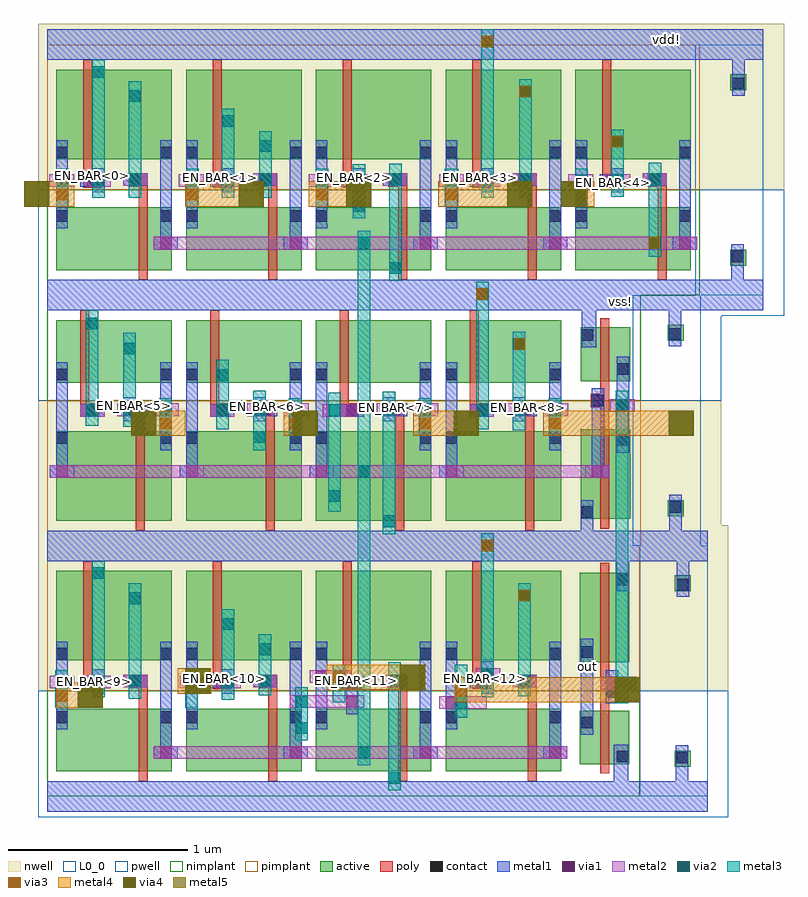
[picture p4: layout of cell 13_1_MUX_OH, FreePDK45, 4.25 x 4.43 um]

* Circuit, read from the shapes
.subckt 13_1_MUX_OH EN<0> EN<10> EN<11> EN<12> EN<1> EN<2> EN<3> EN<4> EN<5> EN<6> EN<7> EN<8> EN<9> EN_BAR<0> EN_BAR<10> EN_BAR<11> EN_BAR<12> EN_BAR<1> EN_BAR<2> EN_BAR<3> EN_BAR<4> EN_BAR<5> EN_BAR<6> EN_BAR<7> EN_BAR<8> EN_BAR<9> IN<0> IN<10> IN<11> IN<12> IN<1> IN<2> IN<3> IN<4> IN<5> IN<6> IN<7> IN<8> IN<9> VDD out vdd! vss!
M1 IN<5> EN<5> TGATE_0/Out vss! nfet w=0.35u l=0.05u
M2 TGATE_0/Out EN<9> IN<9> vss! nfet w=0.35u l=0.05u
M3 TGATE_0/Out EN<0> IN<0> vss! nfet w=0.35u l=0.05u
M4 IN<6> EN<6> TGATE_0/Out vss! nfet w=0.35u l=0.05u
M5 TGATE_0/Out EN<10> IN<10> vss! nfet w=0.35u l=0.05u
M6 TGATE_0/Out EN<1> IN<1> vss! nfet w=0.35u l=0.05u
M7 IN<7> EN<7> TGATE_0/Out vss! nfet w=0.35u l=0.05u
M8 TGATE_0/Out EN<11> IN<11> vss! nfet w=0.35u l=0.05u
M9 TGATE_0/Out EN<2> IN<2> vss! nfet w=0.35u l=0.05u
M10 IN<8> EN<8> TGATE_0/Out vss! nfet w=0.35u l=0.05u
M11 TGATE_0/Out EN<12> IN<12> vss! nfet w=0.35u l=0.05u
M12 TGATE_0/Out EN<3> IN<3> vss! nfet w=0.35u l=0.05u
M13 vss! INVD1_13/vi out vss! nfet w=0.3u l=0.05u
M14 INVD1_13/vi TGATE_0/Out vss! vss! nfet w=0.3u l=0.05u
M15 TGATE_0/Out EN<4> IN<4> vss! nfet w=0.35u l=0.05u
M16 TGATE_0/Out EN_BAR<9> IN<9> VDD pfet w=0.5u l=0.05u
M17 TGATE_0/Out EN_BAR<0> IN<0> vdd! pfet w=0.5u l=0.05u
M18 IN<5> EN_BAR<5> TGATE_0/Out VDD pfet w=0.5u l=0.05u
M19 TGATE_0/Out EN_BAR<10> IN<10> VDD pfet w=0.5u l=0.05u
M20 TGATE_0/Out EN_BAR<1> IN<1> vdd! pfet w=0.5u l=0.05u
M21 IN<6> EN_BAR<6> TGATE_0/Out VDD pfet w=0.5u l=0.05u
M22 TGATE_0/Out EN_BAR<11> IN<11> VDD pfet w=0.5u l=0.05u
M23 TGATE_0/Out EN_BAR<2> IN<2> vdd! pfet w=0.5u l=0.05u
M24 IN<7> EN_BAR<7> TGATE_0/Out VDD pfet w=0.5u l=0.05u
M25 TGATE_0/Out EN_BAR<12> IN<12> VDD pfet w=0.5u l=0.05u
M26 TGATE_0/Out EN_BAR<3> IN<3> vdd! pfet w=0.5u l=0.05u
M27 IN<8> EN_BAR<8> TGATE_0/Out VDD pfet w=0.5u l=0.05u
M28 VDD INVD1_13/vi out VDD pfet w=0.5u l=0.05u
M29 INVD1_13/vi TGATE_0/Out VDD VDD pfet w=0.5u l=0.05u
M30 TGATE_0/Out EN_BAR<4> IN<4> vdd! pfet w=0.5u l=0.05u
.ends

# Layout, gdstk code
from math import pi, radians
import gdstk
lib = gdstk.Library(unit=1e-6, precision=1e-09)
def R(c, l, rs):  # rectangles x0, y0, x1, y1
    for r in rs: c.add(gdstk.rectangle(r[:2], r[2:], *l))
def A(c, l, x, y, w, h, nx, ny, dx, dy):  # array of equal rectangles
    R(c, l, [(x+i*dx, y+j*dy, x+i*dx+w, y+j*dy+h) for i in range(nx) for j in range(ny)])
def P(c, l, *ps):  # polygons
    for p in ps: c.add(gdstk.Polygon(p, *l))
L0_0 = (0, 0)
active = (1, 0)
pwell = (2, 0)
nwell = (3, 0)
nimplant = (4, 0)
pimplant = (5, 0)
poly = (9, 0)
contact = (10, 0)
metal1 = (11, 0)
via1 = (12, 0)
metal2 = (13, 0)
via2 = (14, 0)
metal3 = (15, 0)
via3 = (16, 0)
metal4 = (17, 0)
via4 = (18, 0)
metal5 = (19, 0)

tgate = lib.new_cell('TGATE')
R(tgate, active, [(0.315,0.255,0.96,0.605), (0.315,0.875,0.96,1.375)])
R(tgate, pwell, [(0.215,0,1.06,0.705)])
R(tgate, nwell, [(0.215,0.705,1.06,1.63)])
R(tgate, nimplant, [(0.265,0.115,1.01,0.705)])
R(tgate, pimplant, [(0.265,0.705,1.01,1.515)])
R(tgate, poly, [(0.775,0.2,0.825,0.785), (0.465,0.715,0.57,0.79), (0.465,0.715,0.515,1.43), (0.72,0.72,0.825,0.795)])
R(tgate, contact, [(0.315,0.525,0.38,0.59), (0.895,0.525,0.96,0.59), (0.485,0.72,0.55,0.785), (0.725,0.725,0.79,0.79), (0.315,0.88,0.38,0.945), (0.895,0.88,0.96,0.945)])
R(tgate, metal1, [(0.265,0.03,1.01,0.2), (0.315,0.49,0.38,0.98), (0.895,0.49,0.96,0.98), (0.45,0.72,0.585,0.79), (0.69,0.725,0.825,0.795), (0.265,1.43,1.01,1.6)])
tgate.add(gdstk.Label('In', (0.35,0.74), layer=11, texttype=0))
tgate.add(gdstk.Label('vss!', (0.61,0.13), layer=11, texttype=0))
tgate.add(gdstk.Label('vdd!', (0.63,1.505), layer=11, texttype=0))
tgate.add(gdstk.Label('EN_N', (0.755,0.76), layer=11, texttype=0))
tgate.add(gdstk.Label('EN_P', (0.515,0.755), layer=11, texttype=0))
tgate.add(gdstk.Label('Out', (0.935,0.755), layer=11, texttype=0))

invd1 = lib.new_cell('INVD1')
R(invd1, active, [(0.545,-1.465,0.82,-1.165), (0.545,-0.895,0.82,-0.395)])
R(invd1, pwell, [(0.435,-1.76,0.93,-1.055)])
R(invd1, nwell, [(0.435,-1.055,0.93,-0.13)])
R(invd1, nimplant, [(0.485,-1.645,0.88,-1.055)])
R(invd1, pimplant, [(0.485,-1.055,0.88,-0.245)])
R(invd1, poly, [(0.655,-1.515,0.705,-0.34), (0.6,-1.095,0.705,-1.02)])
R(invd1, contact, [(0.55,-1.455,0.615,-1.39), (0.745,-1.265,0.81,-1.2), (0.605,-1.09,0.67,-1.025), (0.745,-0.87,0.81,-0.805), (0.55,-0.465,0.615,-0.4)])
R(invd1, metal1, [(0.485,-1.73,0.88,-1.56), (0.55,-1.64,0.63,-1.355), (0.745,-1.3,0.815,-0.765), (0.605,-1.125,0.675,-0.99), (0.545,-0.5,0.615,-0.33), (0.485,-0.33,0.88,-0.16)])
invd1.add(gdstk.Label('vo', (0.775,-1.06), layer=11, texttype=0))
invd1.add(gdstk.Label('vi', (0.635,-1.045), layer=11, texttype=0))
invd1.add(gdstk.Label('vss!', (0.68,-1.705), layer=11, texttype=0))
invd1.add(gdstk.Label('vdd!', (0.675,-0.23), layer=11, texttype=0))

welltap_x1 = lib.new_cell('WELLTAP_X1')
R(welltap_x1, L0_0, [(0,0,0.38,1.4)])
R(welltap_x1, active, [(0.195,0.165,0.285,0.255), (0.195,1.145,0.285,1.235)])
R(welltap_x1, pwell, [(-0.115,-0.115,0.495,0.59)])
R(welltap_x1, nwell, [(-0.115,0.59,0.495,1.515)])
R(welltap_x1, nimplant, [(0.195,1.145,0.285,1.235)])
R(welltap_x1, pimplant, [(0.195,0.165,0.285,0.255)])
R(welltap_x1, contact, [(0.205,0.185,0.27,0.25), (0.205,1.15,0.27,1.215)])
P(welltap_x1, metal1, [(0.38,0.085),(0.27,0.085),(0.27,0.285),(0.2,0.285),(0.2,0.085),(0,0.085),(0,-0.085),(0.38,-0.085)],
  [(0.38,1.485),(0,1.485),(0,1.315),(0.205,1.315),(0.205,1.115),(0.275,1.115),(0.275,1.315),(0.38,1.315)],
  [(0.38,1.485),(0,1.485),(0,1.315),(0.205,1.315),(0.205,1.115),(0.275,1.115),(0.275,1.315),(0.38,1.315)],
  [(0.38,0.085),(0.27,0.085),(0.27,0.285),(0.2,0.285),(0.2,0.085),(0,0.085),(0,-0.085),(0.38,-0.085)])
welltap_x1.add(gdstk.Label('VSS', (0.095,-0.085), layer=11, texttype=0))
welltap_x1.add(gdstk.Label('VDD', (0.095,1.485), layer=11, texttype=0))
welltap_x1.add(gdstk.Label('& Instance FILLCELL_X1', (0,0), layer=63, texttype=0))
welltap_x1.add(gdstk.Label('& Version 2010_12', (0,0), layer=63, texttype=0))
welltap_x1.add(gdstk.Label('& Product Open Cell Library', (0,0), layer=63, texttype=0))
welltap_x1.add(gdstk.Label('& Vendor Nangate Inc', (0,0), layer=63, texttype=0))
welltap_x1.add(gdstk.Label('VSS', (0,-0.085), layer=230, texttype=0))
welltap_x1.add(gdstk.Label('VDD', (0,1.315), layer=230, texttype=0))

c_13_1_mux_oh = lib.new_cell('13_1_MUX_OH')
A(c_13_1_mux_oh, metal1, 1.165, -2.41, 0.135, 0.07, 4, 1, 0.725, 0)
A(c_13_1_mux_oh, metal1, 1.2, -2.365, 0.065, 0.12, 4, 1, 0.725, 0)
A(c_13_1_mux_oh, metal1, 0.585, -0.84, 0.135, 0.07, 4, 1, 0.725, 0)
A(c_13_1_mux_oh, metal1, 0.62, -0.84, 0.065, 0.155, 4, 1, 0.725, 0)
A(c_13_1_mux_oh, metal1, 0.995, -0.525, 0.07, 0.135, 4, 1, 0.725, 0)
A(c_13_1_mux_oh, metal1, 1.165, 0.435, 0.135, 0.07, 5, 1, 0.725, 0)
A(c_13_1_mux_oh, metal1, 1.2, 0.435, 0.065, 0.12, 5, 1, 0.725, 0)
R(c_13_1_mux_oh, metal1, [(2.24,-2.16,2.305,-2.015), (0.82,-2.045,0.89,-1.91), (1.545,-2.045,1.615,-1.91), (2.995,-2.045,3.065,-1.865), (3.69,-2.03,3.76,-1.915), (3.575,-0.84,3.71,-0.77), (3.61,-0.81,3.68,-0.34), (0.82,0.755,0.89,0.89), (1.55,0.755,1.615,0.89), (2.275,0.755,2.345,0.89), (2.995,0.755,3.065,0.89), (3.72,0.755,3.79,0.89)])
A(c_13_1_mux_oh, via1, 1.2, -2.41, 0.065, 0.07, 4, 1, 0.725, 0)
A(c_13_1_mux_oh, via1, 1.03, -2.005, 0.065, 0.065, 4, 1, 0.725, 0)
A(c_13_1_mux_oh, via1, 0.62, -0.84, 0.065, 0.07, 4, 1, 0.725, 0)
A(c_13_1_mux_oh, via1, 0.995, -0.49, 0.065, 0.065, 4, 1, 0.725, 0)
A(c_13_1_mux_oh, via1, 1.2, 0.435, 0.065, 0.07, 5, 1, 0.725, 0)
A(c_13_1_mux_oh, via1, 0.62, 0.785, 0.065, 0.065, 4, 1, 0.725, 0)
A(c_13_1_mux_oh, via1, 0.825, 0.79, 0.065, 0.065, 5, 1, 0.725, 0)
A(c_13_1_mux_oh, via1, 1.03, 0.795, 0.065, 0.065, 5, 1, 0.725, 0)
R(c_13_1_mux_oh, via1, [(2.795,-2.13,2.86,-2.065), (2.24,-2.125,2.305,-2.06), (0.62,-2.015,0.685,-1.95), (1.345,-2.015,1.41,-1.95), (3.695,-2.015,3.76,-1.95), (0.825,-2.01,0.89,-1.945), (1.55,-2.01,1.615,-1.945), (2.07,-1.985,2.135,-1.92), (3,-1.97,3.065,-1.905), (3.61,-0.84,3.675,-0.77), (0.79,-0.495,0.855,-0.43), (1.2,-0.495,1.265,-0.43), (1.515,-0.495,1.58,-0.43), (1.925,-0.495,1.99,-0.43), (2.24,-0.495,2.305,-0.43), (2.65,-0.495,2.715,-0.43), (2.965,-0.495,3.03,-0.43), (3.375,-0.495,3.44,-0.43), (3.75,-0.465,3.815,-0.4), (2.795,0.785,2.86,0.85), (3.52,0.785,3.585,0.85)])
A(c_13_1_mux_oh, metal2, 0.995, -2.01, 0.135, 0.07, 4, 1, 0.725, 0)
A(c_13_1_mux_oh, metal2, 0.96, -0.495, 0.135, 0.07, 4, 1, 0.725, 0)
A(c_13_1_mux_oh, metal2, 1.165, -0.495, 0.14, 0.07, 4, 1, 0.725, 0)
A(c_13_1_mux_oh, metal2, 0.58, 0.785, 0.14, 0.07, 3, 1, 0.725, 0)
A(c_13_1_mux_oh, metal2, 0.79, 0.785, 0.135, 0.07, 3, 1, 0.725, 0)
A(c_13_1_mux_oh, metal2, 0.995, 0.79, 0.135, 0.07, 5, 1, 0.725, 0)
R(c_13_1_mux_oh, metal2, [(1.165,-2.41,3.475,-2.34), (2.76,-2.13,3.025,-2.06), (1.925,-2.125,2.34,-2.055), (3.66,-2.02,3.86,-1.95), (0.585,-2.015,0.72,-1.945), (0.79,-2.015,0.925,-1.945), (1.31,-2.015,1.445,-1.945), (1.515,-2.015,1.65,-1.945), (2.035,-1.985,2.265,-1.915), (2.965,-1.975,3.1,-1.905), (0.585,-0.84,3.71,-0.77), (0.755,-0.5,0.89,-0.43), (1.48,-0.5,1.615,-0.43), (2.11,-0.5,2.34,-0.43), (2.93,-0.5,3.065,-0.43), (3.715,-0.47,3.85,-0.4), (1.165,0.435,4.2,0.505), (2.76,0.785,2.895,0.855), (2.965,0.785,3.1,0.855), (3.48,0.785,3.62,0.855), (3.69,0.785,3.825,0.855)])
A(c_13_1_mux_oh, via2, 1.03, -2.005, 0.065, 0.065, 4, 1, 0.725, 0)
A(c_13_1_mux_oh, via2, 0.995, -0.49, 0.065, 0.065, 4, 1, 0.725, 0)
A(c_13_1_mux_oh, via2, 0.62, 0.785, 0.065, 0.065, 4, 1, 0.725, 0)
A(c_13_1_mux_oh, via2, 0.825, 0.79, 0.065, 0.065, 5, 1, 0.725, 0)
A(c_13_1_mux_oh, via2, 1.03, 0.795, 0.065, 0.065, 5, 1, 0.725, 0)
R(c_13_1_mux_oh, via2, [(2.475,-2.55,2.54,-2.485), (2.305,-2.41,2.375,-2.34), (1.96,-2.27,2.025,-2.205), (2.845,-2.13,2.91,-2.065), (1.96,-2.125,2.025,-2.06), (0.62,-2.015,0.685,-1.95), (1.345,-2.015,1.41,-1.95), (3.745,-2.015,3.81,-1.95), (0.825,-2.01,0.89,-1.945), (1.55,-2.01,1.615,-1.945), (2.165,-1.985,2.23,-1.92), (3,-1.97,3.065,-1.905), (1.75,-1.83,1.815,-1.765), (1.545,-1.69,1.61,-1.625), (1.025,-1.545,1.09,-1.48), (0.82,-1.405,0.885,-1.34), (2.445,-1.115,2.51,-1.05), (2.14,-0.975,2.205,-0.91), (2.305,-0.84,2.375,-0.77), (1.72,-0.645,1.785,-0.58), (0.79,-0.495,0.855,-0.43), (1.2,-0.495,1.265,-0.43), (1.515,-0.495,1.58,-0.43), (1.925,-0.495,1.99,-0.43), (2.145,-0.495,2.21,-0.43), (2.65,-0.495,2.715,-0.43), (2.965,-0.495,3.03,-0.43), (3.375,-0.495,3.44,-0.43), (3.75,-0.465,3.815,-0.4), (1.515,-0.3,1.58,-0.235), (1,-0.15,1.065,-0.085), (0.785,-0.01,0.85,0.055), (2.48,0.3,2.545,0.365), (2.305,0.435,2.375,0.505), (2.275,0.645,2.34,0.71), (2.795,0.785,2.86,0.85), (3.52,0.785,3.585,0.85), (1.755,0.98,1.82,1.045), (1.55,1.12,1.615,1.185), (1.025,1.26,1.09,1.325), (0.825,1.395,0.89,1.46)])
A(c_13_1_mux_oh, metal3, 1.195, -0.605, 0.07, 0.21, 4, 1, 0.725, 0)
A(c_13_1_mux_oh, metal3, 0.62, 0.675, 0.07, 0.21, 3, 1, 0.725, 0)
R(c_13_1_mux_oh, metal3, [(2.475,-2.585,2.545,-1.87), (2.305,-2.445,2.375,0.54), (1.955,-2.305,2.025,-2.01), (2.845,-2.18,2.915,-1.885), (0.615,-2.125,0.685,-1.915), (1.34,-2.125,1.41,-1.915), (2.165,-2.095,2.235,-1.885), (1.545,-2.08,1.615,-1.575), (1.025,-2.075,1.095,-1.43), (0.82,-2.065,0.89,-1.305), (2.995,-2.065,3.065,-1.15), (3.2,-2.06,3.27,-1.43), (1.75,-2.055,1.82,-1.715), (2.445,-1.155,2.515,-0.36), (2.14,-1.03,2.21,-0.365), (1.72,-0.685,1.79,-0.355), (3.17,-0.575,3.24,-0.025), (1.515,-0.57,1.585,-0.18), (2.965,-0.57,3.035,0.255), (0.995,-0.555,1.065,-0.03), (0.785,-0.55,0.855,0.095), (2.48,0.26,2.55,0.915), (3.93,0.395,4,0.92), (2.275,0.61,2.345,0.91), (2.79,0.675,2.86,0.885), (2.795,0.675,2.865,0.885), (3.52,0.675,3.59,0.885), (0.82,0.725,0.89,1.495), (1.025,0.725,1.095,1.375), (1.545,0.725,1.615,1.22), (1.755,0.725,1.825,1.095), (2.995,0.725,3.065,1.665), (3.205,0.725,3.275,1.385), (3.72,0.73,3.79,1.105)])
A(c_13_1_mux_oh, via3, 1.2, -0.57, 0.065, 0.065, 4, 1, 0.725, 0)
A(c_13_1_mux_oh, via3, 0.62, 0.71, 0.065, 0.065, 4, 1, 0.725, 0)
R(c_13_1_mux_oh, via3, [(0.62,-2.09,0.685,-2.025), (2.845,-2.06,2.91,-1.995), (1.345,-2.015,1.41,-1.95), (2.165,-1.985,2.23,-1.92), (3.2,-1.53,3.265,-1.465), (2.995,-1.25,3.06,-1.185), (3.175,-0.125,3.24,-0.06), (2.965,0.155,3.03,0.22), (3.93,0.44,3.995,0.505), (2.795,0.71,2.86,0.775), (3.52,0.71,3.585,0.775), (3.72,1.005,3.785,1.07), (3.205,1.285,3.27,1.35), (2.995,1.565,3.06,1.63)])
R(c_13_1_mux_oh, metal4, [(0.62,-2.125,0.88,-1.985), (2.845,-2.095,3.88,-1.955), (1.3,-2.045,1.485,-1.905), (2.13,-2.025,2.68,-1.885), (1.04,-0.605,1.19,-0.465), (1.165,-0.605,1.34,-0.465), (1.89,-0.605,2.08,-0.465), (2.615,-0.605,2.98,-0.465), (3.34,-0.605,4.18,-0.465), (0.44,0.675,0.72,0.815), (1.34,0.675,1.78,0.815), (2.03,0.675,2.38,0.815), (2.755,0.675,3.28,0.815), (3.44,0.675,3.625,0.815)])
A(c_13_1_mux_oh, via4, 1.04, -0.605, 0.14, 0.14, 3, 1, 0.9, 0)
R(c_13_1_mux_oh, via4, [(0.74,-2.125,0.88,-1.985), (3.74,-2.095,3.88,-1.955), (1.34,-2.045,1.48,-1.905), (2.54,-2.025,2.68,-1.885), (4.04,-0.605,4.18,-0.465), (0.44,0.675,0.58,0.815), (1.64,0.675,1.78,0.815), (2.24,0.675,2.38,0.815), (3.14,0.675,3.28,0.815), (3.44,0.675,3.58,0.815)])
A(c_13_1_mux_oh, metal5, 1.04, -0.605, 0.14, 0.14, 3, 1, 0.9, 0)
R(c_13_1_mux_oh, metal5, [(0.74,-2.125,0.88,-1.985), (3.74,-2.095,3.88,-1.955), (1.34,-2.045,1.48,-1.905), (2.54,-2.025,2.68,-1.885), (4.04,-0.605,4.18,-0.465), (0.44,0.675,0.58,0.815), (1.64,0.675,1.78,0.815), (2.24,0.675,2.38,0.815), (3.14,0.675,3.28,0.815), (3.44,0.675,3.58,0.815)])
c_13_1_mux_oh.add(gdstk.FlexPath([(3.78,-0.355),(3.78,-2.1)], 0.07, ends="flush", simple_path=True, layer=15, datatype=0))  # metal3
c_13_1_mux_oh.add(gdstk.Reference(tgate, (2.48,-2.735)))
c_13_1_mux_oh.add(gdstk.Reference(tgate, (0.305,0.065)))
c_13_1_mux_oh.add(gdstk.Reference(tgate, (1.03,0.065)))
c_13_1_mux_oh.add(gdstk.Reference(tgate, (2.48,0.065)))
c_13_1_mux_oh.add(gdstk.Reference(tgate, (1.755,0.065)))
c_13_1_mux_oh.add(gdstk.Reference(tgate, (3.755,0.295), rotation=pi))
c_13_1_mux_oh.add(gdstk.Reference(tgate, (3.205,0.065)))
c_13_1_mux_oh.add(gdstk.Reference(tgate, (2.305,0.295), rotation=pi))
c_13_1_mux_oh.add(gdstk.Reference(tgate, (3.03,0.295), rotation=pi))
c_13_1_mux_oh.add(gdstk.Reference(tgate, (0.305,-2.735)))
c_13_1_mux_oh.add(gdstk.Reference(tgate, (1.58,0.295), rotation=pi))
c_13_1_mux_oh.add(gdstk.Reference(tgate, (1.755,-2.735)))
c_13_1_mux_oh.add(gdstk.Reference(tgate, (1.03,-2.735)))
c_13_1_mux_oh.add(gdstk.Reference(invd1, (4.365,-0.975), rotation=pi, x_reflection=True))
c_13_1_mux_oh.add(gdstk.Reference(invd1, (3.005,-1.465), x_reflection=True))
c_13_1_mux_oh.add(gdstk.Reference(welltap_x1, (3.88,-2.62)))
c_13_1_mux_oh.add(gdstk.Reference(welltap_x1, (3.84,0.18), x_reflection=True))
c_13_1_mux_oh.add(gdstk.Reference(welltap_x1, (4.19,0.18)))
c_13_1_mux_oh.add(gdstk.Label('out', (3.59,-1.895), layer=11, texttype=0))
c_13_1_mux_oh.add(gdstk.Label('vss!', (3.77,0.145), layer=11, texttype=0))
c_13_1_mux_oh.add(gdstk.Label('vdd!', (4.03,1.61), layer=11, texttype=0))
c_13_1_mux_oh.add(gdstk.Label('EN_BAR<12>', (3.02,-1.96), layer=11, texttype=0))
c_13_1_mux_oh.add(gdstk.Label('EN_BAR<11>', (2.295,-1.975), layer=11, texttype=0))
c_13_1_mux_oh.add(gdstk.Label('EN_BAR<10>', (1.56,-1.96), layer=11, texttype=0))
c_13_1_mux_oh.add(gdstk.Label('EN_BAR<9>', (0.835,-1.98), layer=11, texttype=0))
c_13_1_mux_oh.add(gdstk.Label('EN_BAR<8>', (3.26,-0.45), layer=11, texttype=0))
c_13_1_mux_oh.add(gdstk.Label('EN_BAR<7>', (2.52,-0.445), layer=11, texttype=0))
c_13_1_mux_oh.add(gdstk.Label('EN_BAR<6>', (1.8,-0.44), layer=11, texttype=0))
c_13_1_mux_oh.add(gdstk.Label('EN_BAR<5>', (1.055,-0.435), layer=11, texttype=0))
c_13_1_mux_oh.add(gdstk.Label('EN_BAR<4>', (3.735,0.81), layer=11, texttype=0))
c_13_1_mux_oh.add(gdstk.Label('EN_BAR<3>', (2.99,0.84), layer=11, texttype=0))
c_13_1_mux_oh.add(gdstk.Label('EN_BAR<2>', (2.285,0.835), layer=11, texttype=0))
c_13_1_mux_oh.add(gdstk.Label('EN_BAR<1>', (1.535,0.835), layer=11, texttype=0))
c_13_1_mux_oh.add(gdstk.Label('EN_BAR<0>', (0.825,0.85), layer=11, texttype=0))
c_13_1_mux_oh.add(gdstk.Label('EN<12>', (3.235,-1.955), layer=11, texttype=0))
c_13_1_mux_oh.add(gdstk.Label('EN<11>', (2.52,-1.96), layer=11, texttype=0))
c_13_1_mux_oh.add(gdstk.Label('EN<10>', (1.795,-1.965), layer=11, texttype=0))
c_13_1_mux_oh.add(gdstk.Label('EN<9>', (1.06,-1.965), layer=11, texttype=0))
c_13_1_mux_oh.add(gdstk.Label('EN<8>', (3.02,-0.435), layer=11, texttype=0))
c_13_1_mux_oh.add(gdstk.Label('EN<7>', (2.29,-0.445), layer=11, texttype=0))
c_13_1_mux_oh.add(gdstk.Label('EN<6>', (1.535,-0.445), layer=11, texttype=0))
c_13_1_mux_oh.add(gdstk.Label('EN<5>', (0.83,-0.45), layer=11, texttype=0))
c_13_1_mux_oh.add(gdstk.Label('EN<4>', (3.97,0.835), layer=11, texttype=0))
c_13_1_mux_oh.add(gdstk.Label('EN<3>', (3.25,0.83), layer=11, texttype=0))
c_13_1_mux_oh.add(gdstk.Label('EN<2>', (2.52,0.835), layer=11, texttype=0))
c_13_1_mux_oh.add(gdstk.Label('EN<1>', (1.785,0.83), layer=11, texttype=0))
c_13_1_mux_oh.add(gdstk.Label('EN<0>', (1.04,0.83), layer=11, texttype=0))
c_13_1_mux_oh.add(gdstk.Label('IN<8>', (3.405,-0.46), layer=11, texttype=0))
c_13_1_mux_oh.add(gdstk.Label('IN<11>', (2.1,-1.965), layer=11, texttype=0))
c_13_1_mux_oh.add(gdstk.Label('IN<10>', (1.375,-1.98), layer=11, texttype=0))
c_13_1_mux_oh.add(gdstk.Label('IN<9>', (0.655,-1.98), layer=11, texttype=0))
c_13_1_mux_oh.add(gdstk.Label('IN<12>', (2.83,-2), layer=11, texttype=0))
c_13_1_mux_oh.add(gdstk.Label('IN<7>', (2.675,-0.42), layer=11, texttype=0))
c_13_1_mux_oh.add(gdstk.Label('IN<6>', (1.945,-0.415), layer=11, texttype=0))
c_13_1_mux_oh.add(gdstk.Label('IN<5>', (1.225,-0.48), layer=11, texttype=0))
c_13_1_mux_oh.add(gdstk.Label('IN<4>', (3.555,0.8), layer=11, texttype=0))
c_13_1_mux_oh.add(gdstk.Label('IN<3>', (2.83,0.79), layer=11, texttype=0))
c_13_1_mux_oh.add(gdstk.Label('IN<0>', (0.655,0.815), layer=11, texttype=0))
c_13_1_mux_oh.add(gdstk.Label('IN<2>', (2.105,0.8), layer=11, texttype=0))
c_13_1_mux_oh.add(gdstk.Label('IN<1>', (1.38,0.795), layer=11, texttype=0))

lib.write_gds('13_1_MUX_OH.gds')
